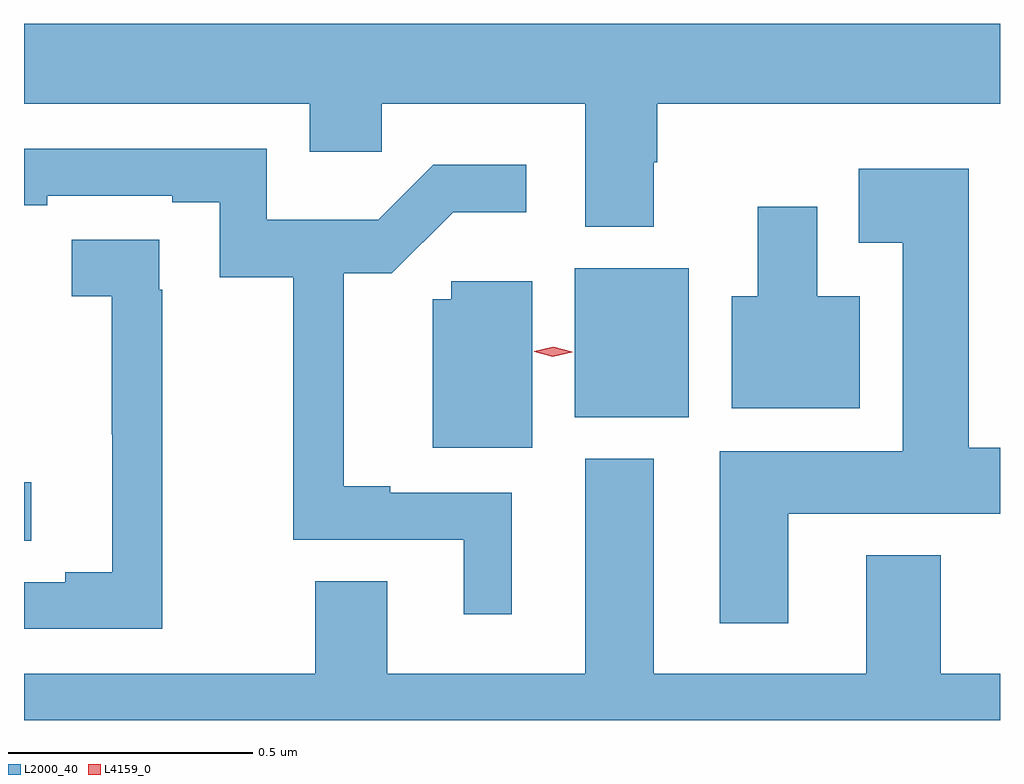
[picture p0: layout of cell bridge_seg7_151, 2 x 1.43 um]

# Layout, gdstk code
import gdstk
lib = gdstk.Library(unit=1e-6, precision=1e-09)
def R(c, l, rs):  # rectangles x0, y0, x1, y1
    for r in rs: c.add(gdstk.rectangle(r[:2], r[2:], *l))
def P(c, l, *ps):  # polygons
    for p in ps: c.add(gdstk.Polygon(p, *l))
L2000_40 = (2000, 40)
L4159_0 = (4159, 0)

bridge_seg7_151 = lib.new_cell('bridge_seg7_151')
R(bridge_seg7_151, L2000_40, [(516.763,1053.001,516.778,1053.121), (517.892,1053.254,518.125,1053.559)])
P(bridge_seg7_151, L2000_40, [(518.053,1053.776),(518.061,1053.776),(518.061,1053.896),(518.763,1053.896),(518.763,1054.06),(516.763,1054.06),(516.763,1053.896),(517.349,1053.896),(517.349,1053.798),(517.496,1053.798),(517.496,1053.896),(517.913,1053.896),(517.913,1053.644),(518.053,1053.644)],
  [(517.762,1053.099),(517.513,1053.099),(517.513,1053.112),(517.418,1053.112),(517.418,1053.549),(517.517,1053.549),(517.643,1053.674),(517.792,1053.674),(517.792,1053.771),(517.602,1053.771),(517.489,1053.658),(517.26,1053.658),(517.26,1053.804),(516.763,1053.804),(516.763,1053.688),(516.811,1053.688),(516.811,1053.708),(517.067,1053.708),(517.067,1053.694),(517.164,1053.694),(517.164,1053.541),(517.315,1053.541),(517.315,1053.003),(517.664,1053.003),(517.664,1052.85),(517.762,1052.85)],
  [(518.329,1053.056),(518.763,1053.056),(518.763,1053.191),(518.699,1053.191),(518.699,1053.763),(518.474,1053.763),(518.474,1053.611),(518.564,1053.611),(518.564,1053.184),(518.189,1053.184),(518.189,1052.832),(518.329,1052.832)],
  [(518.476,1053.502),(518.389,1053.502),(518.389,1053.685),(518.267,1053.685),(518.267,1053.502),(518.213,1053.502),(518.213,1053.272),(518.476,1053.272)],
  [(517.046,1053.515),(517.04,1053.515),(517.04,1053.617),(516.861,1053.617),(516.861,1053.502),(516.943,1053.502),(516.943,1053.219),(516.944,1053.219),(516.944,1052.936),(516.848,1052.936),(516.848,1052.916),(516.763,1052.916),(516.763,1052.82),(517.046,1052.82)],
  [(517.804,1053.532),(517.638,1053.532),(517.638,1053.496),(517.601,1053.496),(517.601,1053.191),(517.804,1053.191)],
  [(518.763,1052.728),(518.642,1052.728),(518.642,1052.971),(518.489,1052.971),(518.489,1052.728),(518.053,1052.728),(518.053,1053.169),(517.913,1053.169),(517.913,1052.728),(517.507,1052.728),(517.507,1052.918),(517.36,1052.918),(517.36,1052.728),(516.763,1052.728),(516.763,1052.633),(518.763,1052.633)])
P(bridge_seg7_151, L4159_0, [(517.847,1053.378),(517.809,1053.388),(517.809,1053.389),(517.809,1053.389),(517.848,1053.398),(517.886,1053.388),(517.886,1053.388),(517.886,1053.387)])

lib.write_gds('bridge_seg7_151.gds')
